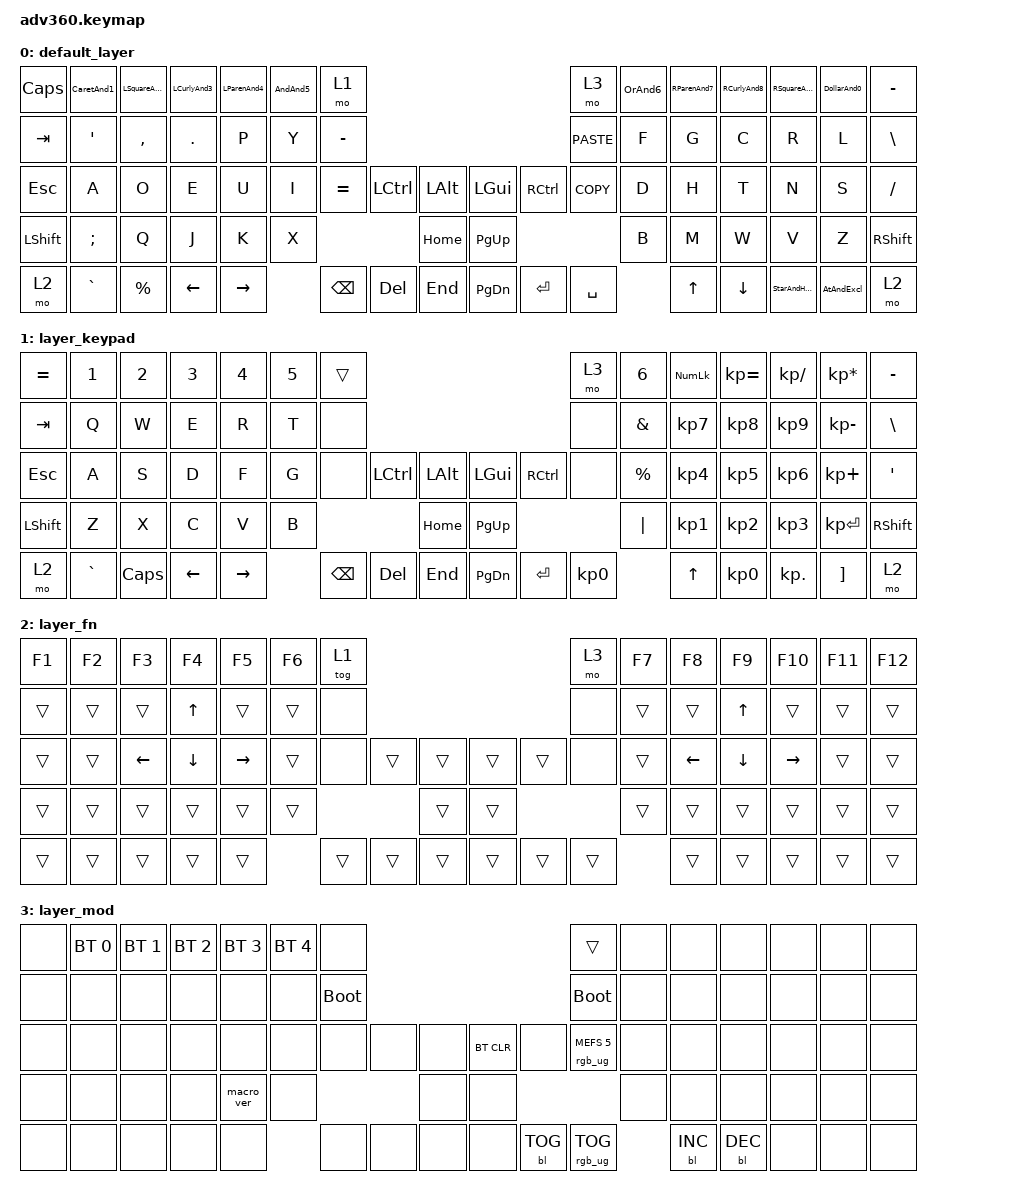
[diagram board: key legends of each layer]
/*
 * Copyright (c) 2020 The ZMK Contributors
 *
 * SPDX-License-Identifier: MIT
 */
/* THIS FILE WAS GENERATED!
 *
 * This file was generated automatically. You may or may not want to
 * edit it directly.
 */

#include <behaviors.dtsi>
#include <dt-bindings/zmk/backlight.h>
#include <dt-bindings/zmk/bt.h>
#include <dt-bindings/zmk/keys.h>
#include <dt-bindings/zmk/rgb.h>

/ {
    behaviors {
        #include "macros.dtsi"
    #include "version.dtsi"

        hm: homerow_mods {
            compatible = "zmk,behavior-hold-tap";
            label = "HOMEROW_MODS";
            #binding-cells = <2>;
            tapping-term-ms = <200>;
            quick_tap_ms = <175>;
            flavor = "tap-preferred";
            bindings = <&kp>, <&kp>;
        };

        LParenAnd4: LParenAnd4 {
            compatible = "zmk,behavior-mod-morph";
            label = "LPARENAND4";
            bindings = <&kp LEFT_PARENTHESIS>, <&kp N4>;

            #binding-cells = <0>;
            mods = <(MOD_LSFT|MOD_RSFT)>;
        };

        LCurlyAnd3: LCurlyAnd3 {
            compatible = "zmk,behavior-mod-morph";
            label = "LCURLYAND3";
            bindings = <&kp LEFT_BRACE>, <&kp N3>;

            #binding-cells = <0>;
            mods = <(MOD_LSFT|MOD_RSFT)>;
        };

        LSquareAnd2: LSquareAnd2 {
            compatible = "zmk,behavior-mod-morph";
            label = "LSQUAREAND2";
            bindings = <&kp LEFT_BRACKET>, <&kp N2>;

            #binding-cells = <0>;
            mods = <(MOD_LSFT|MOD_RSFT)>;
        };

        AndAnd5: AndAnd5 {
            compatible = "zmk,behavior-mod-morph";
            label = "ANDAND5";
            bindings = <&kp AMPERSAND>, <&kp N5>;

            #binding-cells = <0>;
            mods = <(MOD_LSFT|MOD_RSFT)>;
        };

        OrAnd6: OrAnd6 {
            compatible = "zmk,behavior-mod-morph";
            label = "ORAND6";
            bindings = <&kp PIPE>, <&kp N6>;

            #binding-cells = <0>;
            mods = <(MOD_LSFT|MOD_RSFT)>;
        };

        RParenAnd7: RParenAnd7 {
            compatible = "zmk,behavior-mod-morph";
            label = "RPARENAND7";
            bindings = <&kp RIGHT_PARENTHESIS>, <&kp N7>;

            #binding-cells = <0>;
            mods = <(MOD_LSFT|MOD_RSFT)>;
        };

        RCurlyAnd8: RCurlyAnd8 {
            compatible = "zmk,behavior-mod-morph";
            label = "RCURLYAND8";
            bindings = <&kp RIGHT_BRACE>, <&kp N8>;

            #binding-cells = <0>;
            mods = <(MOD_LSFT|MOD_RSFT)>;
        };

        RSquareAnd9: RSquareAnd9 {
            compatible = "zmk,behavior-mod-morph";
            label = "RSQUAREAND9";
            bindings = <&kp RIGHT_BRACKET>, <&kp N9>;

            #binding-cells = <0>;
            mods = <(MOD_LSFT|MOD_RSFT)>;
        };

        CaretAnd1: CaretAnd1 {
            compatible = "zmk,behavior-mod-morph";
            label = "CARETAND1";
            bindings = <&kp CARET>, <&kp N1>;

            #binding-cells = <0>;
            mods = <(MOD_LSFT|MOD_RSFT)>;
        };

        DollarAnd0: DollarAnd0 {
            compatible = "zmk,behavior-mod-morph";
            label = "DOLLARAND0";
            bindings = <&kp DOLLAR>, <&kp N0>;

            #binding-cells = <0>;
            mods = <(MOD_LSFT|MOD_RSFT)>;
        };

        StarAndHash: StarAndHash {
            compatible = "zmk,behavior-mod-morph";
            label = "STARANDHASH";
            bindings = <&kp STAR>, <&kp POUND>;

            #binding-cells = <0>;
            mods = <(MOD_LSFT|MOD_RSFT)>;
        };

        AtAndExcl: AtAndExcl {
            compatible = "zmk,behavior-mod-morph";
            label = "ATANDEXCL";
            bindings = <&kp AT_SIGN>, <&kp EXCL>;

            #binding-cells = <0>;
            mods = <(MOD_LSFT|MOD_RSFT)>;
        };
    };

    keymap {
        compatible = "zmk,keymap";

        default_layer {
            bindings = <
&kp CAPS   &CaretAnd1        &LSquareAnd2  &LCurlyAnd3  &LParenAnd4  &AndAnd5  &mo 1                                                     &mo 3        &OrAnd6  &RParenAnd7  &RCurlyAnd8  &RSquareAnd9  &DollarAnd0  &kp MINUS
&kp TAB    &kp SINGLE_QUOTE  &kp COMMA     &kp PERIOD   &kp P        &kp Y     &kp MINUS                                                 &kp K_PASTE  &kp F    &kp G        &kp C        &kp R         &kp L        &kp BSLH
&kp ESC    &kp A             &kp O         &kp E        &kp U        &kp I     &kp EQUAL  &kp LCTRL  &kp LALT      &kp LGUI   &kp RCTRL  &kp K_COPY   &kp D    &kp H        &kp T        &kp N         &kp S        &kp FSLH
&kp LSHFT  &kp SEMICOLON     &kp Q         &kp J        &kp K        &kp X                           &kp HOME      &kp PG_UP                          &kp B    &kp M        &kp W        &kp V         &kp Z        &kp RSHFT
&mo 2      &kp GRAVE         &kp PERCENT   &kp LEFT     &kp RIGHT              &kp BSPC   &kp DEL    &kp END       &kp PG_DN  &kp ENTER  &kp SPACE             &kp UP       &kp DOWN     &StarAndHash  &AtAndExcl   &mo 2
            >;
        };

        layer_keypad {
            bindings = <
&kp EQUAL  &kp N1     &kp N2    &kp N3    &kp N4     &kp N5  &trans                                                   &mo 3      &kp N6       &kp KP_NUM  &kp KP_EQUAL  &kp KP_DIVIDE  &kp KP_MULTIPLY  &kp MINUS
&kp TAB    &kp Q      &kp W     &kp E     &kp R      &kp T   &none                                                    &none      &kp AMPS     &kp KP_N7   &kp KP_N8     &kp KP_N9      &kp KP_MINUS     &kp BSLH
&kp ESC    &kp A      &kp S     &kp D     &kp F      &kp G   &none     &kp LCTRL  &kp LALT      &kp LGUI   &kp RCTRL  &none      &kp PERCENT  &kp KP_N4   &kp KP_N5     &kp KP_N6      &kp KP_PLUS      &kp SQT
&kp LSHFT  &kp Z      &kp X     &kp C     &kp V      &kp B                        &kp HOME      &kp PG_UP                        &kp PIPE     &kp KP_N1   &kp KP_N2     &kp KP_N3      &kp KP_ENTER     &kp RSHFT
&mo 2      &kp GRAVE  &kp CAPS  &kp LEFT  &kp RIGHT          &kp BSPC  &kp DEL    &kp END       &kp PG_DN  &kp ENTER  &kp KP_N0               &kp UP      &kp KP_N0     &kp KP_DOT     &kp RBKT         &mo 2
            >;
        };

        layer_fn {
            bindings = <
&kp F1  &kp F2  &kp F3    &kp F4    &kp F5     &kp F6  &tog 1                                      &mo 3   &kp F7  &kp F8    &kp F9    &kp F10    &kp F11  &kp F12
&trans  &trans  &trans    &kp UP    &trans     &trans  &none                                       &none   &trans  &trans    &kp UP    &trans     &trans   &trans
&trans  &trans  &kp LEFT  &kp DOWN  &kp RIGHT  &trans  &none   &trans  &trans      &trans  &trans  &none   &trans  &kp LEFT  &kp DOWN  &kp RIGHT  &trans   &trans
&trans  &trans  &trans    &trans    &trans     &trans                  &trans      &trans                  &trans  &trans    &trans    &trans     &trans   &trans
&trans  &trans  &trans    &trans    &trans             &trans  &trans  &trans      &trans  &trans  &trans          &trans    &trans    &trans     &trans   &trans
            >;
        };

        layer_mod {
            bindings = <
&none  &bt BT_SEL 0  &bt BT_SEL 1  &bt BT_SEL 2  &bt BT_SEL 3  &bt BT_SEL 4  &none                                                  &trans                  &none  &none       &none       &none  &none  &none
&none  &none         &none         &none         &none         &none         &bootloader                                            &bootloader             &none  &none       &none       &none  &none  &none
&none  &none         &none         &none         &none         &none         &none        &none  &none      &bt BT_CLR  &none       &rgb_ug RGB_MEFS_CMD 5  &none  &none       &none       &none  &none  &none
&none  &none         &none         &none         &macro_ver    &none                             &none      &none                                           &none  &none       &none       &none  &none  &none
&none  &none         &none         &none         &none                       &none        &none  &none      &none       &bl BL_TOG  &rgb_ug RGB_TOG                &bl BL_INC  &bl BL_DEC  &none  &none  &none
            >;
        };
    };
};
